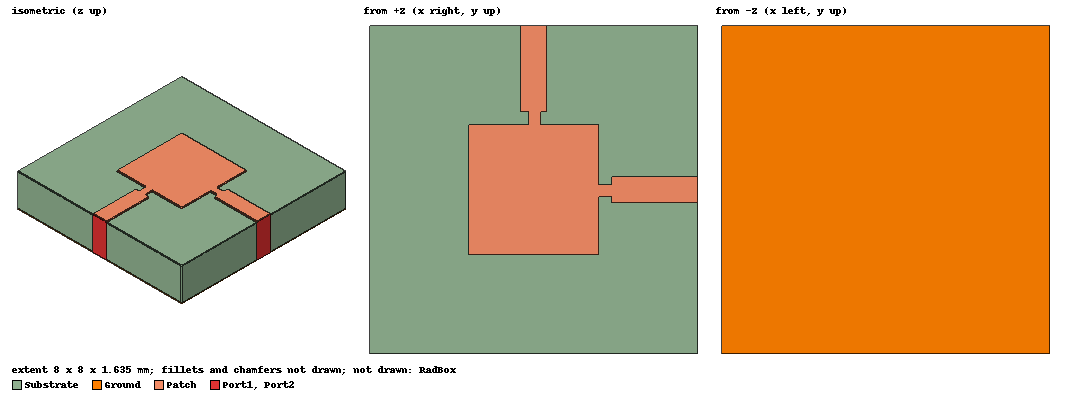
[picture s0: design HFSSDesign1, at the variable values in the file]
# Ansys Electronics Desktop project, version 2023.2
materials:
  vacuum: permittivity=1
  copper: permeability=0.999991 conductivity=58000000
  FR4_epoxy: permittivity=4.4 dielectric_loss_tangent=0.02
  air: permittivity=1.0006 permeability=1.0000004

design HFSSDesign1 (HFSS, HFSS Terminal Network, model units mm)
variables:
  Lp = 3.155mm
  Wp = 3.155mm
  Wt = 0.65mm
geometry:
  Ground [copper] = box(corner=(-4mm, -4mm, 0mm), size=(8mm, 8mm, 0.035mm))
  Substrate [FR4_epoxy] = box(corner=(-4mm, -4mm, 0mm), size=(8mm, 8mm, 1.6mm))
  Patch [copper] = box(corner=(-Lp/2, -Wp/2, 1.6mm), size=(Lp, Wp, 0.035mm))
  Entrance1 = box(corner=(Lp/2, -0.1675mm, 1.6mm), size=(0.335mm, 0.3mm, 0.035mm))
  Feed1 = box(corner=(Lp/2+.335mm, -Wt/2, 1.6mm), size=(3.665mm-Lp/2, Wt, 0.035mm))
  Patch.unite(Entrance1, Feed1)
  Port1 = rectangle(corner=(4mm, -0.325mm, 1.635mm), y_size=Wt, z_size=-1.635mm)
  RadBox [air] = box(corner=(-8mm, -8mm, -4mm), size=(16mm, 16mm, 8mm))
  Entrance2 = box(corner=(0.1675mm, Wp/2, 1.6mm), size=(-0.3mm, 0.335mm, 0.035mm))
  Feed2 = box(corner=(Wt/2, Wp/2 +.335mm, 1.6mm), size=(-Wt, 3.665mm-Wp/2, 0.035mm))
  Patch.unite(Entrance2, Feed2)
  Port2 = rectangle(corner=(0.325mm, 4mm, 1.635mm), z_size=-1.635mm, x_size=-Wt)
  Patch.fillet(Edges=Patch.edge(12 of 12) Radius=0.05mm Setback=0mm)
  Patch.fillet(Edges=Patch.edge(10 of 12) Radius=0.05mm Setback=0mm)
  Patch.fillet(Edges=Patch.edge(11 of 12) Radius=0.05mm Setback=0mm)
  Patch.fillet(Edges=Patch.edge(9 of 12) Radius=0.05mm Setback=0mm)
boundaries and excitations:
  Rad1: Radiation Objects=RadBox
  1: Lumped Port Objects=Port1 LumpedPortType=Modal Modes{Mode1{IntLine{(4, 0, 0.035) -> (4, 0, 1.635)} CharImp=Zpi}} Impedance=50ohm
  2: Lumped Port Objects=Port2 LumpedPortType=Modal Modes{Mode1{IntLine{(0, 4, 0) -> (0, 4, 1.635)} CharImp=Zpi}} Impedance=50ohm
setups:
  Setup1: HfssDriven Frequency=17GHz MaxDeltaS=0.02 MaximumPasses=6 MinimumPasses=1 MinimumConvergedPasses=1 PercentRefinement=30 BasisOrder=1 PortAccuracy=2 DrivenSolverType="Direct Solver"
    sweep Sweep: 8.5GHz to 25.5GHz, 401 points; Type=Fast SaveFields
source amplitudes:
  1:1: 1V 0deg
  2:1: 0V 0deg
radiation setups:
  Infinite Sphere1: Infinite Sphere Theta=0deg..180deg step 2deg Phi=0deg..360deg step 2deg
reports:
  Terminal S Parameter Plot 1: dB(St(1,1)), dB(St(1,2)), dB(St(2,2)) vs Freq on Setup1 : Sweep; markers m1 at 17GHz, m2 at 17GHz, m3 at 17GHz
  Terminal Z Parameter Plot 1: mag(Zt(1,1)) vs Freq on Setup1 : Sweep; markers m1 at 17.0425GHz
  Terminal Z Parameter Plot 2: mag(Zt(2,2)) vs Freq on Setup1 : Sweep; markers m1 at 17GHz
  Gain Plot 1: GainTotal vs Theta on Setup1 : LastAdaptive, Infinite Sphere1 [Phi=0deg,90deg Freq=17GHz]; markers m1 at 0deg
  rE Plot 1: dB(rECoPolar), dB(rECrossPolar) vs Theta on Setup1 : LastAdaptive, Infinite Sphere1 [Phi=0deg,90deg Freq=17GHz]; markers m1 at 0deg, m2 at 0deg
  Antenna Params Table 1: TotalEfficiency vs Freq on Setup1 : LastAdaptive
